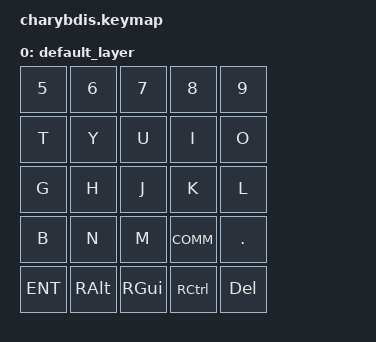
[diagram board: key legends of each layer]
#include <behaviors.dtsi>
#include <dt-bindings/zmk/keys.h>

/ {
    keymap {
        compatible = "zmk,keymap";
        default_layer {
            bindings = <
                // 右键盘5行5列（对应AW9523 P10-P14行 + P00-P04列）
                &kp 5     &kp 6     &kp 7     &kp 8     &kp 9
                &kp T     &kp Y     &kp U     &kp I     &kp O
                &kp G     &kp H     &kp J     &kp K     &kp L
                &kp B     &kp N     &kp M     &kp COMM  &kp DOT
                &kp ENT   &kp RALT  &kp RGUI  &kp RCTRL &kp DEL
            >;
        };
    };
};
